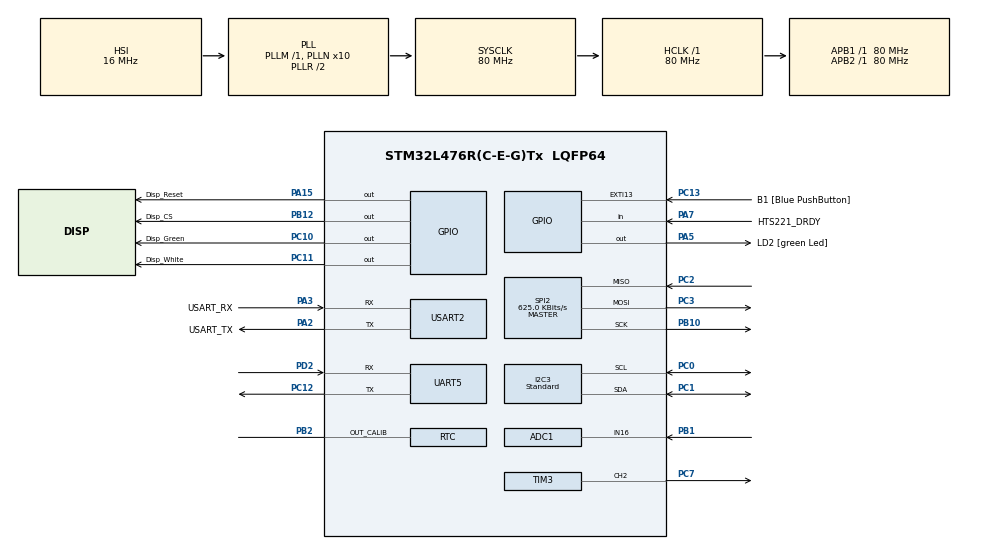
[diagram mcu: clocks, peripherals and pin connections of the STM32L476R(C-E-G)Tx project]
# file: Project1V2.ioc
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ADC1.Channel-0\#ChannelRegularConversion=ADC_CHANNEL_16
ADC1.NbrOfConversionFlag=1
ADC1.OffsetNumber-0\#ChannelRegularConversion=ADC_OFFSET_NONE
ADC1.Rank-0\#ChannelRegularConversion=1
ADC1.SamplingTime-0\#ChannelRegularConversion=ADC_SAMPLETIME_2CYCLES_5
ADC1.master=1
I2C3.DualAddressMode=I2C_DUALADDRESS_DISABLE
I2C3.GeneralCallMode=I2C_GENERALCALL_DISABLE
I2C3.I2C_Speed_Mode=I2C_Standard
I2C3.NoStretchMode=I2C_NOSTRETCH_DISABLE
Mcu.Family=STM32L4
Mcu.Name=STM32L476R(C-E-G)Tx
Mcu.Package=LQFP64
NVIC.PriorityGroup=NVIC_PRIORITYGROUP_4
PA0.Signal=UART4_TX
PA1.Signal=UART4_RX
PA13\ (JTMS-SWDIO).GPIO_Label=TMS
PA13\ (JTMS-SWDIO).Mode=Serial_Wire
PA13\ (JTMS-SWDIO).Signal=SYS_JTMS-SWDIO
PA14\ (JTCK-SWCLK).GPIO_Label=TCK
PA14\ (JTCK-SWCLK).Mode=Serial_Wire
PA14\ (JTCK-SWCLK).Signal=SYS_JTCK-SWCLK
PA15\ (JTDI).GPIO_Label=Disp_Reset
PA15\ (JTDI).Signal=GPIO_Output
PA2.GPIO_Label=USART_TX
PA2.GPIO_Mode=GPIO_MODE_AF_PP
PA2.GPIO_PuPd=GPIO_NOPULL
PA2.GPIO_Speed=GPIO_SPEED_FREQ_VERY_HIGH
PA2.Mode=Asynchronous
PA2.Signal=USART2_TX
PA3.GPIO_Label=USART_RX
PA3.GPIO_Mode=GPIO_MODE_AF_PP
PA3.GPIO_PuPd=GPIO_NOPULL
PA3.GPIO_Speed=GPIO_SPEED_FREQ_VERY_HIGH
PA3.Mode=Asynchronous
PA3.Signal=USART2_RX
PA5.GPIO_Label=LD2 [green Led]
PA5.GPIO_ModeDefaultOutputPP=GPIO_MODE_OUTPUT_PP
PA5.GPIO_PuPd=GPIO_NOPULL
PA5.GPIO_Speed=GPIO_SPEED_FREQ_LOW
PA5.Signal=GPIO_Output
PA7.GPIO_Label=HTS221_DRDY
PA7.Signal=GPIO_Input
PB1.Signal=ADCx_IN16
PB10.Mode=Full_Duplex_Master
PB10.Signal=SPI2_SCK
PB12.GPIO_Label=Disp_CS
PB12.Signal=GPIO_Output
PB2.Mode=Calibration_1Hz
PB2.Signal=RTC_OUT_CALIB
PB3\ (JTDO-TRACESWO).GPIO_Label=SWO
PB3\ (JTDO-TRACESWO).Signal=SYS_JTDO-SWO
PC0.Mode=I2C
PC0.Signal=I2C3_SCL
PC1.Mode=I2C
PC1.Signal=I2C3_SDA
PC10.GPIO_Label=Disp_Green
PC10.Signal=GPIO_Output
PC11.GPIO_Label=Disp_White
PC11.Signal=GPIO_Output
PC12.Mode=Asynchronous
PC12.Signal=UART5_TX
PC13.GPIO_Label=B1 [Blue PushButton]
PC13.GPIO_ModeDefaultEXTI=GPIO_MODE_IT_FALLING
PC13.GPIO_PuPd=GPIO_NOPULL
PC13.Signal=GPXTI13
PC14-OSC32_IN\ (PC14).Mode=LSE-External-Oscillator
PC14-OSC32_IN\ (PC14).Signal=RCC_OSC32_IN
PC15-OSC32_OUT\ (PC15).Mode=LSE-External-Oscillator
PC15-OSC32_OUT\ (PC15).Signal=RCC_OSC32_OUT
PC2.Mode=Full_Duplex_Master
PC2.Signal=SPI2_MISO
PC3.Mode=Full_Duplex_Master
PC3.Signal=SPI2_MOSI
PC7.Signal=S_TIM3_CH2
PD2.Mode=Asynchronous
PD2.Signal=UART5_RX
PH0-OSC_IN\ (PH0).Signal=RCC_OSC_IN
PH1-OSC_OUT\ (PH1).Signal=RCC_OSC_OUT
ProjectManager.HeapSize=0x200
ProjectManager.StackSize=0x400
ProjectManager.TargetToolchain=STM32CubeIDE
RCC.ADCFreq_Value=64000000
RCC.AHBFreq_Value=80000000
RCC.APB1Freq_Value=80000000
RCC.APB1TimFreq_Value=80000000
RCC.APB2Freq_Value=80000000
RCC.APB2TimFreq_Value=80000000
RCC.CortexFreq_Value=80000000
RCC.HCLKFreq_Value=80000000
RCC.HSE_VALUE=8000000
RCC.HSI_VALUE=16000000
RCC.MSI_VALUE=4000000
RCC.PLLN=10
RCC.PLLSourceVirtual=RCC_PLLSOURCE_HSI
RCC.PREFETCH_ENABLE=1
RCC.SYSCLKFreq_VALUE=80000000
RCC.SYSCLKSource=RCC_SYSCLKSOURCE_PLLCLK
RCC.USBFreq_Value=64000000
RCC.VCOOutputFreq_Value=160000000
RTC.Format=RTC_FORMAT_BIN
RTC.Hours=23
SH.ADCx_IN16.0=ADC1_IN16,IN16-Single-Ended
SH.S_TIM3_CH2.0=TIM3_CH2,PWM Generation2 CH2
SPI2.BaudRatePrescaler=SPI_BAUDRATEPRESCALER_128
SPI2.CLKPhase=SPI_PHASE_2EDGE
SPI2.CLKPolarity=SPI_POLARITY_HIGH
SPI2.CalculateBaudRate=625.0 KBits/s
SPI2.DataSize=SPI_DATASIZE_8BIT
SPI2.Direction=SPI_DIRECTION_2LINES
SPI2.FirstBit=SPI_FIRSTBIT_LSB
SPI2.Mode=SPI_MODE_MASTER
SPI2.VirtualType=VM_MASTER
TIM3.Channel-PWM\ Generation2\ CH2=TIM_CHANNEL_2
TIM3.Period=99
TIM3.Prescaler=4096
TIM3.Pulse-PWM\ Generation2\ CH2=2048
USART2.VirtualMode-Asynchronous=VM_ASYNC
VP_RTC_VS_RTC_Activate.Mode=RTC_Enabled
VP_RTC_VS_RTC_Calendar.Mode=RTC_Calendar
VP_TIM3_VS_ClockSourceINT.Mode=Internal
board=NUCLEO-L476RG

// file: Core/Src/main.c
/* USER CODE BEGIN Header */
/**
  ******************************************************************************
  * @file           : main.c
  * @brief          : Main program body
  ******************************************************************************
  * @attention
  *
  * <h2><center>&copy; Copyright (c) 2019 STMicroelectronics.
  * All rights reserved.</center></h2>
  *
  * This software component is licensed by ST under BSD 3-Clause license,
  * the "License"; You may not use this file except in compliance with the
  * License. You may obtain a copy of the License at:
  *                        opensource.org/licenses/BSD-3-Clause
  *
  ******************************************************************************
  */
/* USER CODE END Header */

#include "main.h"
#include "adc.h"
#include "i2c.h"
#include "rtc.h"
#include "spi.h"
#include "tim.h"
#include "usart.h"
#include "gpio.h"

/* USER CODE BEGIN PD */
//#define RUN_TEST_PROGRAM	//comment this out to run the main program
/* USER CODE END PD */

void SystemClock_Config(void);

/* USER CODE BEGIN 0 */
#ifdef RUN_TEST_PROGRAM
extern void initialise_monitor_handles(void);
#endif
/* USER CODE END 0 */

int main(void)
{

  /* MCU Configuration--------------------------------------------------------*/

  /* Reset of all peripherals, Initializes the Flash interface and the Systick. */
  HAL_Init();

  /* Configure the system clock */
  SystemClock_Config();

  /* Initialize all configured peripherals */
  MX_GPIO_Init();
  MX_ADC1_Init();
  MX_RTC_Init();
  MX_SPI2_Init();
  MX_TIM3_Init();
  MX_USART2_UART_Init();
  MX_UART5_Init();
  MX_I2C3_Init();
  /* USER CODE BEGIN 2 */
  HAL_GPIO_WritePin(Disp_CS_GPIO_Port, Disp_CS_Pin, GPIO_PIN_SET); //set cs high
  HAL_Delay(50);
  HAL_TIM_PWM_Start(&htim3, TIM_CHANNEL_2);	//Start timerPWM
  HAL_Delay(50);
  #ifdef RUN_TEST_PROGRAM
    Test_program();
  #else
    Project();
  #endif

  /* USER CODE END 2 */

  /* Infinite loop */
  while (1)
  {

  }
}

void SystemClock_Config(void)
{
  RCC_OscInitTypeDef RCC_OscInitStruct = {0};
  RCC_ClkInitTypeDef RCC_ClkInitStruct = {0};
  RCC_PeriphCLKInitTypeDef PeriphClkInit = {0};

  /** Initializes the CPU, AHB and APB busses clocks
  */
  RCC_OscInitStruct.OscillatorType = RCC_OSCILLATORTYPE_HSI|RCC_OSCILLATORTYPE_LSI;
  RCC_OscInitStruct.HSIState = RCC_HSI_ON;
  RCC_OscInitStruct.HSICalibrationValue = RCC_HSICALIBRATION_DEFAULT;
  RCC_OscInitStruct.LSIState = RCC_LSI_ON;
  RCC_OscInitStruct.PLL.PLLState = RCC_PLL_ON;
  RCC_OscInitStruct.PLL.PLLSource = RCC_PLLSOURCE_HSI;
  RCC_OscInitStruct.PLL.PLLM = 1;
  RCC_OscInitStruct.PLL.PLLN = 10;
  RCC_OscInitStruct.PLL.PLLP = RCC_PLLP_DIV7;
  RCC_OscInitStruct.PLL.PLLQ = RCC_PLLQ_DIV2;
  RCC_OscInitStruct.PLL.PLLR = RCC_PLLR_DIV2;
  if (HAL_RCC_OscConfig(&RCC_OscInitStruct) != HAL_OK)
  {
    Error_Handler();
  }
  /** Initializes the CPU, AHB and APB busses clocks
  */
  RCC_ClkInitStruct.ClockType = RCC_CLOCKTYPE_HCLK|RCC_CLOCKTYPE_SYSCLK
                              |RCC_CLOCKTYPE_PCLK1|RCC_CLOCKTYPE_PCLK2;
  RCC_ClkInitStruct.SYSCLKSource = RCC_SYSCLKSOURCE_PLLCLK;
  RCC_ClkInitStruct.AHBCLKDivider = RCC_SYSCLK_DIV1;
  RCC_ClkInitStruct.APB1CLKDivider = RCC_HCLK_DIV1;
  RCC_ClkInitStruct.APB2CLKDivider = RCC_HCLK_DIV1;

  if (HAL_RCC_ClockConfig(&RCC_ClkInitStruct, FLASH_LATENCY_4) != HAL_OK)
  {
    Error_Handler();
  }
  PeriphClkInit.PeriphClockSelection = RCC_PERIPHCLK_RTC|RCC_PERIPHCLK_USART2
                              |RCC_PERIPHCLK_UART5|RCC_PERIPHCLK_I2C3
                              |RCC_PERIPHCLK_ADC;
  PeriphClkInit.Usart2ClockSelection = RCC_USART2CLKSOURCE_PCLK1;
  PeriphClkInit.Uart5ClockSelection = RCC_UART5CLKSOURCE_PCLK1;
  PeriphClkInit.I2c3ClockSelection = RCC_I2C3CLKSOURCE_PCLK1;
  PeriphClkInit.AdcClockSelection = RCC_ADCCLKSOURCE_PLLSAI1;
  PeriphClkInit.RTCClockSelection = RCC_RTCCLKSOURCE_LSI;
  PeriphClkInit.PLLSAI1.PLLSAI1Source = RCC_PLLSOURCE_HSI;
  PeriphClkInit.PLLSAI1.PLLSAI1M = 1;
  PeriphClkInit.PLLSAI1.PLLSAI1N = 8;
  PeriphClkInit.PLLSAI1.PLLSAI1P = RCC_PLLP_DIV7;
  PeriphClkInit.PLLSAI1.PLLSAI1Q = RCC_PLLQ_DIV2;
  PeriphClkInit.PLLSAI1.PLLSAI1R = RCC_PLLR_DIV2;
  PeriphClkInit.PLLSAI1.PLLSAI1ClockOut = RCC_PLLSAI1_ADC1CLK;
  if (HAL_RCCEx_PeriphCLKConfig(&PeriphClkInit) != HAL_OK)
  {
    Error_Handler();
  }
  /** Configure the main internal regulator output voltage
  */
  if (HAL_PWREx_ControlVoltageScaling(PWR_REGULATOR_VOLTAGE_SCALE1) != HAL_OK)
  {
    Error_Handler();
  }
}

void Error_Handler(void)
{
  /* USER CODE BEGIN Error_Handler_Debug */
  /* User can add his own implementation to report the HAL error return state */
	SPI_send_display(0x00, 0x00, 0x01);	//clear display

	/*Display "To slow"*/
	Write_display(0x54);
	Write_display(0x6F);
	Write_display(0x20);
	Write_display(0x73);
	Write_display(0x6C);
	Write_display(0x6F);
	Write_display(0x77);

	HAL_Delay(3000);
	Project();
  /* USER CODE END Error_Handler_Debug */
}

/************************ (C) COPYRIGHT STMicroelectronics *****END OF FILE****/
